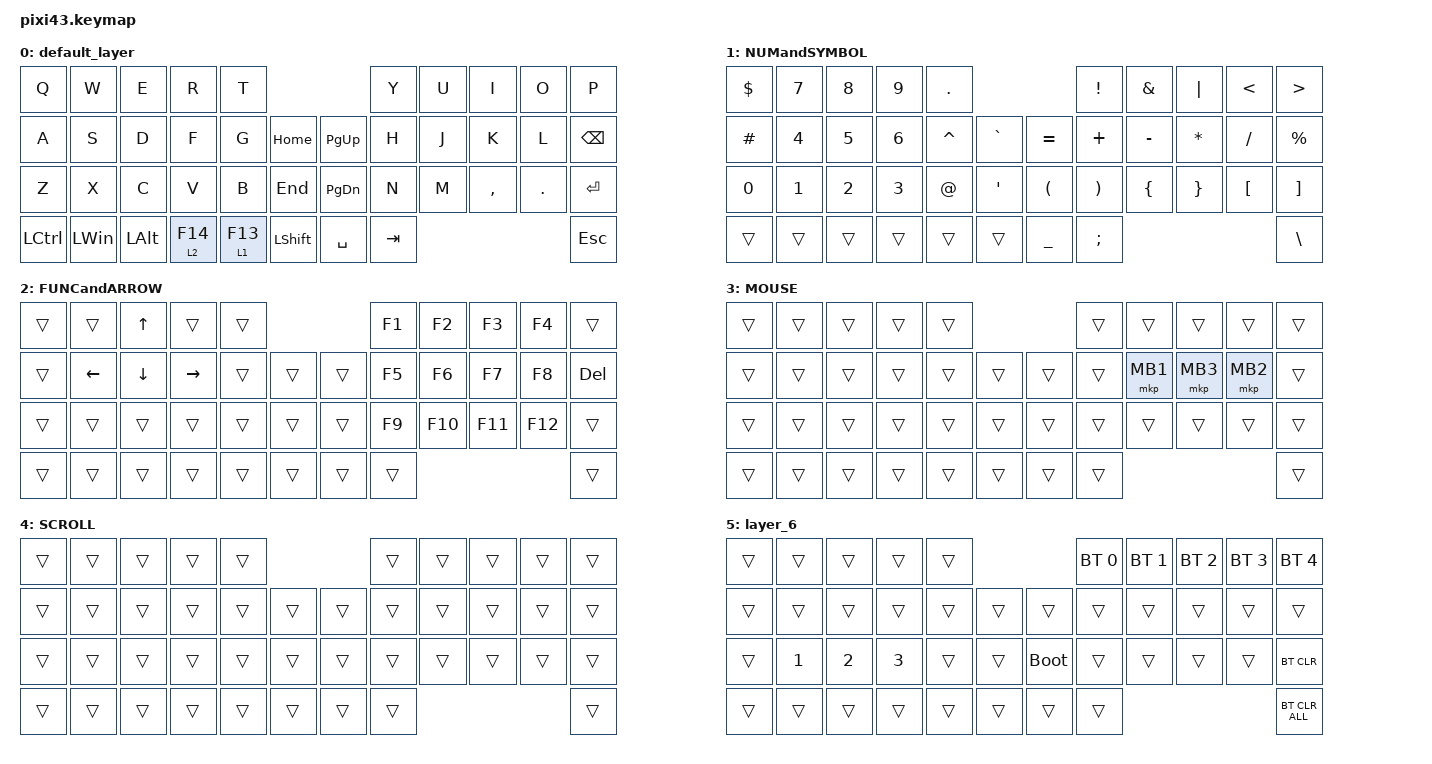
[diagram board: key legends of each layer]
#include <behaviors.dtsi>
#include <dt-bindings/zmk/bt.h>
#include <dt-bindings/zmk/keys.h>
#include <dt-bindings/zmk/pointing.h>

&trackball {
    automouse-layer = <3>;
    scroll-layers = <4>;

    // arrows {
    //     layers = <3>;
    //     bindings =
    //         <&kp RIGHT_ARROW>,
    //         <&kp LEFT_ARROW>,
    //         <&kp UP_ARROW>,
    //         <&kp DOWN_ARROW>;
    //     tick = <10>;
    //     wait-ms = <5>;
    //     tap-ms = <5>;
    // };
};

/ {
    combos { compatible = "zmk,combos"; };

    keymap {
        compatible = "zmk,keymap";

        default_layer {
            bindings = <
&kp Q      &kp W         &kp E         &kp R      &kp T                                         &kp Y    &kp U  &kp I      &kp O    &kp P
&kp A      &kp S         &kp D         &kp F      &kp G      &kp HOME            &kp PAGE_UP    &kp H    &kp J  &kp K      &kp L    &kp BACKSPACE
&kp Z      &kp X         &kp C         &kp V      &kp B      &kp END             &kp PAGE_DOWN  &kp N    &kp M  &kp COMMA  &kp DOT  &kp ENTER
&kp LCTRL  &kp LEFT_WIN  &kp LEFT_ALT  &lt 2 F14  &lt 1 F13  &kp LEFT_SHIFT      &kp SPACE      &kp TAB                             &kp ESCAPE
            >;
        };

        NUMandSYMBOL {
            bindings = <
&kp DOLLAR    &kp NUMBER_7  &kp NUMBER_8  &kp NUMBER_9  &kp PERIOD                                               &kp EXCLAMATION        &kp AMPERSAND   &kp PIPE         &kp LESS_THAN     &kp GREATER_THAN
&kp HASH      &kp NUMBER_4  &kp NUMBER_5  &kp NUMBER_6  &kp CARET    &kp GRAVE             &kp EQUAL             &kp PLUS               &kp MINUS       &kp ASTERISK     &kp SLASH         &kp PERCENT
&kp NUMBER_0  &kp NUMBER_1  &kp NUMBER_2  &kp NUMBER_3  &kp AT_SIGN  &kp SINGLE_QUOTE      &kp LEFT_PARENTHESIS  &kp RIGHT_PARENTHESIS  &kp LEFT_BRACE  &kp RIGHT_BRACE  &kp LEFT_BRACKET  &kp RIGHT_BRACKET
&trans        &trans        &trans        &trans        &trans       &trans                &kp UNDERSCORE        &kp SEMICOLON                                                             &kp BACKSLASH
            >;
        };

        FUNCandARROW {
            bindings = <
&trans  &trans          &kp UP_ARROW    &trans           &trans                      &kp F1  &kp F2   &kp F3   &kp F4   &trans
&trans  &kp LEFT_ARROW  &kp DOWN_ARROW  &kp RIGHT_ARROW  &trans  &trans      &trans  &kp F5  &kp F6   &kp F7   &kp F8   &kp DELETE
&trans  &trans          &trans          &trans           &trans  &trans      &trans  &kp F9  &kp F10  &kp F11  &kp F12  &trans
&trans  &trans          &trans          &trans           &trans  &trans      &trans  &trans                             &trans
            >;
        };

        MOUSE {
            bindings = <
&trans  &trans  &trans  &trans  &trans                      &trans  &trans    &trans    &trans    &trans
&trans  &trans  &trans  &trans  &trans  &trans      &trans  &trans  &mkp MB1  &mkp MB3  &mkp MB2  &trans
&trans  &trans  &trans  &trans  &trans  &trans      &trans  &trans  &trans    &trans    &trans    &trans
&trans  &trans  &trans  &trans  &trans  &trans      &trans  &trans                                &trans
            >;
        };

        SCROLL {
            bindings = <
&trans  &trans  &trans  &trans  &trans                      &trans  &trans  &trans  &trans  &trans
&trans  &trans  &trans  &trans  &trans  &trans      &trans  &trans  &trans  &trans  &trans  &trans
&trans  &trans  &trans  &trans  &trans  &trans      &trans  &trans  &trans  &trans  &trans  &trans
&trans  &trans  &trans  &trans  &trans  &trans      &trans  &trans                          &trans
            >;
        };

        layer_6 {
            bindings = <
&trans  &trans        &trans        &trans        &trans                           &bt BT_SEL 0  &bt BT_SEL 1  &bt BT_SEL 2  &bt BT_SEL 3  &bt BT_SEL 4
&trans  &trans        &trans        &trans        &trans  &trans      &trans       &trans        &trans        &trans        &trans        &trans
&trans  &kp NUMBER_1  &kp NUMBER_2  &kp NUMBER_3  &trans  &trans      &bootloader  &trans        &trans        &trans        &trans        &bt BT_CLR
&trans  &trans        &trans        &trans        &trans  &trans      &trans       &trans                                                  &bt BT_CLR_ALL
            >;
        };
    };
};
